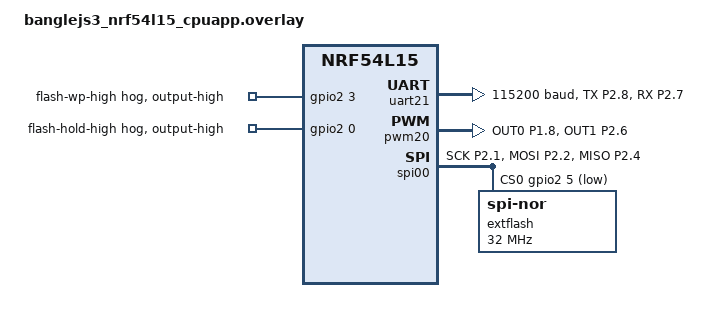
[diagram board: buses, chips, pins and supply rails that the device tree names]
/*
 * Copyright (c) 2024 Nordic Semiconductor ASA
 *
 * SPDX-License-Identifier: LicenseRef-Nordic-5-Clause
 */

/* WiFi UART*/
&pinctrl {
	/omit-if-no-ref/ uart21_default: uart21_default {
		group1 {
			psels = <NRF_PSEL(UART_TX, 2, 8)>;
		};

		group2 {
			psels = <NRF_PSEL(UART_RX, 2, 7)>;
			bias-pull-up;
		};
	};

	/omit-if-no-ref/ uart21_sleep: uart21_sleep {
		group1 {
			psels = <NRF_PSEL(UART_RX, 2, 7)>;
			low-power-enable;
		};

		group2 {
			psels = <NRF_PSEL(UART_TX, 2, 8)>;
			low-power-enable;
			bias-pull-down; /* WiFi is off, so this ends up being low? */
		};
	};
};
&uart21 {
	status = "okay";
	current-speed = <115200>;
	pinctrl-0 = <&uart21_default>;
	pinctrl-1 = <&uart21_sleep>;
	pinctrl-names = "default", "sleep";
};

/* PWM for speaker/vibration */
&pinctrl {
    pwm20_default: pwm20_default {
        group1 {
            psels = <NRF_PSEL(PWM_OUT0, 1, 8)>, // speaker
	            <NRF_PSEL(PWM_OUT1, 2, 6)>; // vibrate
        };
    };

    pwm20_sleep: pwm20_sleep {
        group1 {
            psels = <NRF_PSEL(PWM_OUT0, 1, 8)>,
	            <NRF_PSEL(PWM_OUT1, 2, 6)>;
            low-power-enable;
        };
    };
};

/* Enable PWM peripheral */
&pwm20 {
    status = "okay";
    pinctrl-0 = <&pwm20_default>;
    pinctrl-1 = <&pwm20_sleep>;
    pinctrl-names = "default", "sleep";
};

/* Software QSPI using the FLPR */
&pinctrl {
/*	sqspi_default: sqspi_default {
		group1 {
			psels = <NRF_PSEL(SDP_MSPI_SCK, 2, 1)>,
				<NRF_PSEL(SDP_MSPI_CS0, 2, 5)>,
				<NRF_PSEL(SDP_MSPI_DQ0, 2, 2)>;
			nordic,drive-mode = <NRF_DRIVE_E0E1>;
		};

		group2 {
			psels = <NRF_PSEL(SDP_MSPI_DQ1, 2, 4)>,
				<NRF_PSEL(SDP_MSPI_DQ2, 2, 3)>,
				<NRF_PSEL(SDP_MSPI_DQ3, 2, 0)>;
			nordic,drive-mode = <NRF_DRIVE_E0E1>;
			bias-pull-up;
		};
	};

	sqspi_sleep: sqspi_sleep {
		group1 {
			low-power-enable;
			psels = <NRF_PSEL(SDP_MSPI_SCK, 2, 1)>,
				<NRF_PSEL(SDP_MSPI_CS0, 2, 5)>,
				<NRF_PSEL(SDP_MSPI_DQ0, 2, 2)>,
				<NRF_PSEL(SDP_MSPI_DQ1, 2, 4)>,
				<NRF_PSEL(SDP_MSPI_DQ2, 2, 3)>,
				<NRF_PSEL(SDP_MSPI_DQ3, 2, 0)>;
		};
	};*/

	/* SPI flash */
	/omit-if-no-ref/ spi00_default: spi00_default {
		group1 {
			psels = <NRF_PSEL(SPIM_SCK, 2, 1)>,
				<NRF_PSEL(SPIM_MOSI, 2, 2)>,
				<NRF_PSEL(SPIM_MISO, 2, 4)>;
		};
	};

	/omit-if-no-ref/ spi00_sleep: spi00_sleep {
		group1 {
			psels = <NRF_PSEL(SPIM_SCK, 2, 1)>,
				<NRF_PSEL(SPIM_MOSI, 2, 2)>,
				<NRF_PSEL(SPIM_MISO, 2, 4)>;
			low-power-enable;
		};
	};
};

/*
PH0: ff00 rev 1.6: 16 DW @ 30
Summary of BFP content:
DTR Clocking supported
Addressing: 3- or 4-Byte
4-KiBy erase: uniform
Support QSPI XIP
Support 1-1-1
Support 1-1-2: instr 3Bh, 0 mode clocks, 8 waits
Support 1-1-4: instr 6Bh, 0 mode clocks, 8 waits
Support 1-2-2: instr BBh, 4 mode clocks, 0 waits
Support 1-4-4: instr EBh, 2 mode clocks, 4 waits
Support 4-4-4: instr EBh, 2 mode clocks, 6 waits
Flash density: 67108864 bytes
ET1: instr 20h for 4096 By; typ 80 ms, max 2560 ms
ET2: instr 52h for 32768 By; typ 400 ms, max 12800 ms
ET3: instr D8h for 65536 By; typ 640 ms, max 20480 ms
Chip erase: typ 60928 ms, max 365568 ms
Byte program: type 32 + 3 * B us, max 192 + 18 * B us
Page program: typ 320 us, max 1920 us
Page program size: 256 By
Suspend: 75h ; Resume: 7Ah
DPD: Enter B9h, exit ABh ; delay 64000 ns ; poll 0x3d
HOLD or RESET Disable: unsupported
QER: 4
0-4-4 Mode methods: entry 0xd ; exit 0x2d
4-4-4 Mode sequences: enable 0x01 ; disable 0x9
4-byte addressing support: enter 0xa5, exit 0x3e5
Soft Reset and Rescue Sequence support: 0x10
Status Register 1 support: 0x68
size = <536870912>; // bits
sfdp-bfp = [
        e5 20 fb ff  ff ff ff 1f  44 eb 08 6b  08 3b 80 bb
        fe ff ff ff  ff ff 00 ff  ff ff 46 eb  0c 20 0f 52
        10 d8 00 ff  4f c2 11 ff  82 e4 14 62  a8 cc 68 46
        7a 75 7a 75  f7 c7 d5 5c  19 b6 4d ff  e8 50 f9 a5
        ];
PH1: ff0b rev 1.0: 3 DW @ 90
sfdp-ff0b = [
        00 36 50 16  9f f9 77 64  d9 c8 ff ff
        ];
PH2: ff84 rev 1.0: 2 DW @ c0
sfdp-ff84 = [
        ff 8f f0 ff  21 5c dc ff
        ];
jedec-id = [0b 65 1a];
*/

&spi00 {
	status = "okay";
	pinctrl-0 = <&spi00_default>;
	pinctrl-1 = <&spi00_sleep>;
	pinctrl-names = "default", "sleep";
	cs-gpios = <&gpio2 5 GPIO_ACTIVE_LOW>;

	extflash: extflash@0 {
		// our part is the XTX XT25W512BWSIGA
		compatible = "jedec,spi-nor";
		status = "okay";
		reg = <0 DT_SIZE_M(64)>; /* 512 Mbit / 64 MB */
                size = <536870912>; /* 512 Mbit / 64 MB */
		spi-max-frequency = <32000000>;
		jedec-id = [0b 65 1a];
		/* Basic Flash Parameter Table (BFPT) 9-word / 36-byte array for 64Mbit NOR */
		sfdp-bfp = [
			e5 20 fb ff  ff ff ff 1f  44 eb 08 6b  08 3b 80 bb
			fe ff ff ff  ff ff 00 ff  ff ff 46 eb  0c 20 0f 52
			10 d8 00 ff  4f c2 11 ff  82 e4 14 62  a8 cc 68 46
			7a 75 7a 75  f7 c7 d5 5c  19 b6 4d ff  e8 50 f9 a5
		];
	};
};

&gpio2 {
/* Force WP pin (P2.03) to output high permanently */
    wp_hog {
        gpio-hog;
        gpios = <3 GPIO_ACTIVE_HIGH>;
        output-high;
        line-name = "flash-wp-high";
    };

    /* Force HOLD/RESET pin (P2.00) to output high permanently */
    hold_hog {
        gpio-hog;
        gpios = <0 GPIO_ACTIVE_HIGH>;
        output-high;
        line-name = "flash-hold-high";
    };
};
